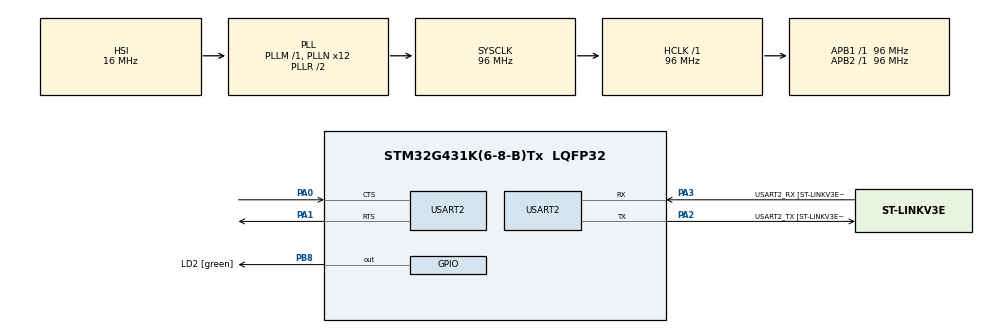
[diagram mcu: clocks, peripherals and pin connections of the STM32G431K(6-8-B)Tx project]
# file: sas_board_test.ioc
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FREERTOS.Tasks01=defaultTask,24,128,StartDefaultTask,Default,NULL,Dynamic,NULL,NULL
FREERTOS.configUSE_NEWLIB_REENTRANT=1
Mcu.Family=STM32G4
Mcu.Name=STM32G431K(6-8-B)Tx
Mcu.Package=LQFP32
NVIC.PriorityGroup=NVIC_PRIORITYGROUP_4
PA0.Mode=CTS_RTS
PA0.Signal=USART2_CTS
PA1.Mode=CTS_RTS
PA1.Signal=USART2_RTS
PA13.GPIO_Label=T_SWDIO
PA13.Mode=Serial_Wire
PA13.Signal=SYS_JTMS-SWDIO
PA14.GPIO_Label=T_SWCLK
PA14.Mode=Serial_Wire
PA14.Signal=SYS_JTCK-SWCLK
PA2.GPIO_Label=USART2_TX [ST-LINKV3E_VCP_RX]
PA2.Mode=Asynchronous
PA2.Signal=USART2_TX
PA3.GPIO_Label=USART2_RX [ST-LINKV3E_VCP_TX]
PA3.Mode=Asynchronous
PA3.Signal=USART2_RX
PB3.GPIO_Label=T_SWO
PB3.Signal=SYS_JTDO-SWO
PB8-BOOT0.GPIO_Label=LD2 [green]
PB8-BOOT0.Signal=GPIO_Output
ProjectManager.HeapSize=0x200
ProjectManager.StackSize=0x400
ProjectManager.TargetToolchain=STM32CubeIDE
RCC.ADC12Freq_Value=96000000
RCC.AHBFreq_Value=96000000
RCC.APB1Freq_Value=96000000
RCC.APB1TimFreq_Value=96000000
RCC.APB2Freq_Value=96000000
RCC.APB2TimFreq_Value=96000000
RCC.CortexFreq_Value=96000000
RCC.EXTERNAL_CLOCK_VALUE=12288000
RCC.HCLKFreq_Value=96000000
RCC.HSE_VALUE=8000000
RCC.HSI48_VALUE=48000000
RCC.HSI_VALUE=16000000
RCC.LSE_VALUE=32768
RCC.PLLN=12
RCC.PLLQ=RCC_PLLQ_DIV4
RCC.SYSCLKFreq_VALUE=96000000
RCC.SYSCLKSource=RCC_SYSCLKSOURCE_PLLCLK
RCC.USBFreq_Value=48000000
RCC.VCOOutputFreq_Value=192000000
USART2.AutoBaudRateEnableParam=UART_ADVFEATURE_AUTOBAUDRATE_DISABLE
USART2.VirtualMode-Asynchronous=VM_ASYNC
VP_FREERTOS_VS_CMSIS_V2.Mode=CMSIS_V2
VP_SYS_VS_DBSignals.Mode=DisableDeadBatterySignals
board=NUCLEO-G431KB

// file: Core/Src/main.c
/* USER CODE BEGIN Header */
/**
 ******************************************************************************
 * @file           : main.c
 * @brief          : Main program body
 ******************************************************************************
 * @attention
 *
 * Copyright (c) 2022 STMicroelectronics.
 * All rights reserved.
 *
 * This software is licensed under terms that can be found in the LICENSE file
 * in the root directory of this software component.
 * If no LICENSE file comes with this software, it is provided AS-IS.
 *
 ******************************************************************************
 */
/* USER CODE END Header */
#include "main.h"
#include "cmsis_os.h"

/* USER CODE BEGIN Includes */
#include <stdio.h>
#include <string.h>
/* USER CODE END Includes */

/* USER CODE BEGIN PTD */

typedef enum {
	DATA_REQUEST = 1,
	DATA_RESPONSE,
	CONFIG_REQUEST,
	LED_ON_REQUEST,
	LED_OFF_REQUEST,
	ACKNOWLEDGE_RESPONSE,
	ERROR_RESPONSE
} Request;

/* USER CODE END PTD */

/* USER CODE BEGIN PD */

#define NUM_SENSORS 16
#define SAMPLES_PER_TRANSFER 20 // FIXME: not constant

/* USER CODE END PD */

UART_HandleTypeDef huart2;

/* Definitions for defaultTask */
osThreadId_t defaultTaskHandle;
const osThreadAttr_t defaultTask_attributes = { .name = "defaultTask",
		.priority = (osPriority_t) osPriorityNormal, .stack_size = 2048 }; //128 * 4 };

void SystemClock_Config(void);
static void MX_GPIO_Init(void);
static void MX_USART2_UART_Init(void);
void StartDefaultTask(void *argument);

int main(void) {

	/* MCU Configuration--------------------------------------------------------*/

	/* Reset of all peripherals, Initializes the Flash interface and the Systick. */
	HAL_Init();

	/* Configure the system clock */
	SystemClock_Config();

	/* Initialize all configured peripherals */
	MX_GPIO_Init();
	MX_USART2_UART_Init();

	/* Init scheduler */
	osKernelInitialize();

	/* Create the thread(s) */
	/* creation of defaultTask */
	defaultTaskHandle = osThreadNew(StartDefaultTask, NULL,
			&defaultTask_attributes);

	/* Start scheduler */
	osKernelStart();

	/* We should never get here as control is now taken by the scheduler */
	/* Infinite loop */
	while (1) {

	}
}

void SystemClock_Config(void) {
	RCC_OscInitTypeDef RCC_OscInitStruct = { 0 };
	RCC_ClkInitTypeDef RCC_ClkInitStruct = { 0 };

	/** Configure the main internal regulator output voltage
	 */
	HAL_PWREx_ControlVoltageScaling(PWR_REGULATOR_VOLTAGE_SCALE1);
	/** Initializes the RCC Oscillators according to the specified parameters
	 * in the RCC_OscInitTypeDef structure.
	 */
	RCC_OscInitStruct.OscillatorType = RCC_OSCILLATORTYPE_HSI;
	RCC_OscInitStruct.HSIState = RCC_HSI_ON;
	RCC_OscInitStruct.HSICalibrationValue = RCC_HSICALIBRATION_DEFAULT;
	RCC_OscInitStruct.PLL.PLLState = RCC_PLL_ON;
	RCC_OscInitStruct.PLL.PLLSource = RCC_PLLSOURCE_HSI;
	RCC_OscInitStruct.PLL.PLLM = RCC_PLLM_DIV1;
	RCC_OscInitStruct.PLL.PLLN = 12;
	RCC_OscInitStruct.PLL.PLLP = RCC_PLLP_DIV2;
	RCC_OscInitStruct.PLL.PLLQ = RCC_PLLQ_DIV4;
	RCC_OscInitStruct.PLL.PLLR = RCC_PLLR_DIV2;
	if (HAL_RCC_OscConfig(&RCC_OscInitStruct) != HAL_OK) {
		Error_Handler();
	}
	/** Initializes the CPU, AHB and APB buses clocks
	 */
	RCC_ClkInitStruct.ClockType = RCC_CLOCKTYPE_HCLK | RCC_CLOCKTYPE_SYSCLK
			| RCC_CLOCKTYPE_PCLK1 | RCC_CLOCKTYPE_PCLK2;
	RCC_ClkInitStruct.SYSCLKSource = RCC_SYSCLKSOURCE_PLLCLK;
	RCC_ClkInitStruct.AHBCLKDivider = RCC_SYSCLK_DIV1;
	RCC_ClkInitStruct.APB1CLKDivider = RCC_HCLK_DIV1;
	RCC_ClkInitStruct.APB2CLKDivider = RCC_HCLK_DIV1;

	if (HAL_RCC_ClockConfig(&RCC_ClkInitStruct, FLASH_LATENCY_2) != HAL_OK) {
		Error_Handler();
	}
}

static void MX_USART2_UART_Init(void) {

	huart2.Instance = USART2;
	huart2.Init.BaudRate = 115200;
	huart2.Init.WordLength = UART_WORDLENGTH_8B;
	huart2.Init.StopBits = UART_STOPBITS_1;
	huart2.Init.Parity = UART_PARITY_NONE;
	huart2.Init.Mode = UART_MODE_TX_RX;
	huart2.Init.HwFlowCtl = UART_HWCONTROL_RTS_CTS;
	huart2.Init.OverSampling = UART_OVERSAMPLING_16;
	huart2.Init.OneBitSampling = UART_ONE_BIT_SAMPLE_DISABLE;
	huart2.Init.ClockPrescaler = UART_PRESCALER_DIV1;
	huart2.AdvancedInit.AdvFeatureInit = UART_ADVFEATURE_NO_INIT;
	if (HAL_UART_Init(&huart2) != HAL_OK) {
		Error_Handler();
	}
	if (HAL_UARTEx_SetTxFifoThreshold(&huart2, UART_TXFIFO_THRESHOLD_1_8)
			!= HAL_OK) {
		Error_Handler();
	}
	if (HAL_UARTEx_SetRxFifoThreshold(&huart2, UART_RXFIFO_THRESHOLD_1_8)
			!= HAL_OK) {
		Error_Handler();
	}
	if (HAL_UARTEx_DisableFifoMode(&huart2) != HAL_OK) {
		Error_Handler();
	}

}

static void MX_GPIO_Init(void) {
	GPIO_InitTypeDef GPIO_InitStruct = { 0 };

	/* GPIO Ports Clock Enable */
	__HAL_RCC_GPIOF_CLK_ENABLE();
	__HAL_RCC_GPIOG_CLK_ENABLE();
	__HAL_RCC_GPIOA_CLK_ENABLE();
	__HAL_RCC_GPIOB_CLK_ENABLE();

	/*Configure GPIO pin Output Level */
	HAL_GPIO_WritePin(LD2_GPIO_Port, LD2_Pin, GPIO_PIN_RESET);

	/*Configure GPIO pins : PF0 PF1 */
	GPIO_InitStruct.Pin = GPIO_PIN_0 | GPIO_PIN_1;
	GPIO_InitStruct.Mode = GPIO_MODE_ANALOG;
	GPIO_InitStruct.Pull = GPIO_NOPULL;
	HAL_GPIO_Init(GPIOF, &GPIO_InitStruct);

	/*Configure GPIO pin : PG10 */
	GPIO_InitStruct.Pin = GPIO_PIN_10;
	GPIO_InitStruct.Mode = GPIO_MODE_ANALOG;
	GPIO_InitStruct.Pull = GPIO_NOPULL;
	HAL_GPIO_Init(GPIOG, &GPIO_InitStruct);

	/*Configure GPIO pins : PA4 PA5 PA6 PA7
	 PA8 PA9 PA10 PA11
	 PA12 PA15 */
	GPIO_InitStruct.Pin = GPIO_PIN_4 | GPIO_PIN_5 | GPIO_PIN_6 | GPIO_PIN_7
			| GPIO_PIN_8 | GPIO_PIN_9 | GPIO_PIN_10 | GPIO_PIN_11 | GPIO_PIN_12
			| GPIO_PIN_15;
	GPIO_InitStruct.Mode = GPIO_MODE_ANALOG;
	GPIO_InitStruct.Pull = GPIO_NOPULL;
	HAL_GPIO_Init(GPIOA, &GPIO_InitStruct);

	/*Configure GPIO pins : PB0 PB4 PB5 PB6
	 PB7 */
	GPIO_InitStruct.Pin = GPIO_PIN_0 | GPIO_PIN_4 | GPIO_PIN_5 | GPIO_PIN_6
			| GPIO_PIN_7;
	GPIO_InitStruct.Mode = GPIO_MODE_ANALOG;
	GPIO_InitStruct.Pull = GPIO_NOPULL;
	HAL_GPIO_Init(GPIOB, &GPIO_InitStruct);

	/*Configure GPIO pin : LD2_Pin */
	GPIO_InitStruct.Pin = LD2_Pin;
	GPIO_InitStruct.Mode = GPIO_MODE_OUTPUT_PP;
	GPIO_InitStruct.Pull = GPIO_NOPULL;
	GPIO_InitStruct.Speed = GPIO_SPEED_FREQ_LOW;
	HAL_GPIO_Init(LD2_GPIO_Port, &GPIO_InitStruct);

}

/* USER CODE BEGIN 4 */

static void turn_led_on() {
	HAL_GPIO_WritePin(LD2_GPIO_Port, LD2_Pin, GPIO_PIN_SET);
}

static void turn_led_off() {
	HAL_GPIO_WritePin(LD2_GPIO_Port, LD2_Pin, GPIO_PIN_RESET);
}

/* USER CODE END 4 */

void StartDefaultTask(void *argument) {
	/* USER CODE BEGIN 5 */

	uint16_t current_sample_value = 0;

	/* Infinite loop */
	for (;;) {

		uint8_t request = 0;

		// Wait for a request
		HAL_UART_Receive(&huart2, &request, 1, UINT32_MAX);

		// TODO: only transmit data for the activated sensors, and not all of them
		// (we can safely assume that in the majority of cases we would only use a
		// fraction of the 16 sensors, and the extra cost of transfering the index
		// and size of data would almost always be worth it)

		switch (request) {
		case DATA_REQUEST: {
			uint16_t sensor_data[SAMPLES_PER_TRANSFER][NUM_SENSORS] = { 0 };
			for (uint8_t sample = 0; sample < SAMPLES_PER_TRANSFER; ++sample) {
				for (uint8_t sensor = 0; sensor < NUM_SENSORS; ++sensor) {
					sensor_data[sample][sensor] = current_sample_value
							+ sensor * 10;
				}
				++current_sample_value;
			}
			const uint8_t response_type = DATA_RESPONSE;
			HAL_UART_Transmit(&huart2, &response_type, 1, 100);
			HAL_UART_Transmit(&huart2, (uint8_t*) sensor_data,
					sizeof(sensor_data), 100);
			break;
		}
		case CONFIG_REQUEST: {
			uint8_t config_data[32] = { 0 };
			HAL_UART_Receive(&huart2, config_data, sizeof(config_data), 100);
			const uint8_t response_type = ACKNOWLEDGE_RESPONSE;
			HAL_UART_Transmit(&huart2, &response_type, 1, 100);
			break;
		}
		case LED_ON_REQUEST: {
			turn_led_on();
			const uint8_t response_type = ACKNOWLEDGE_RESPONSE;
			HAL_UART_Transmit(&huart2, &response_type, 1, 100);
			break;
		}
		case LED_OFF_REQUEST: {
			turn_led_off();
			const uint8_t response_type = ACKNOWLEDGE_RESPONSE;
			HAL_UART_Transmit(&huart2, &response_type, 1, 100);
			break;
		}
		default: {
			const uint8_t response_type = ERROR_RESPONSE;
			HAL_UART_Transmit(&huart2, &response_type, 1, 100);
			const uint8_t error[] = "Unexpected request";
			HAL_UART_Transmit(&huart2, error, sizeof(error), 100);
			break;
		}
		}
	}
	/* USER CODE END 5 */
}

void Error_Handler(void) {
	__disable_irq();
	while (1) {
	}
}
